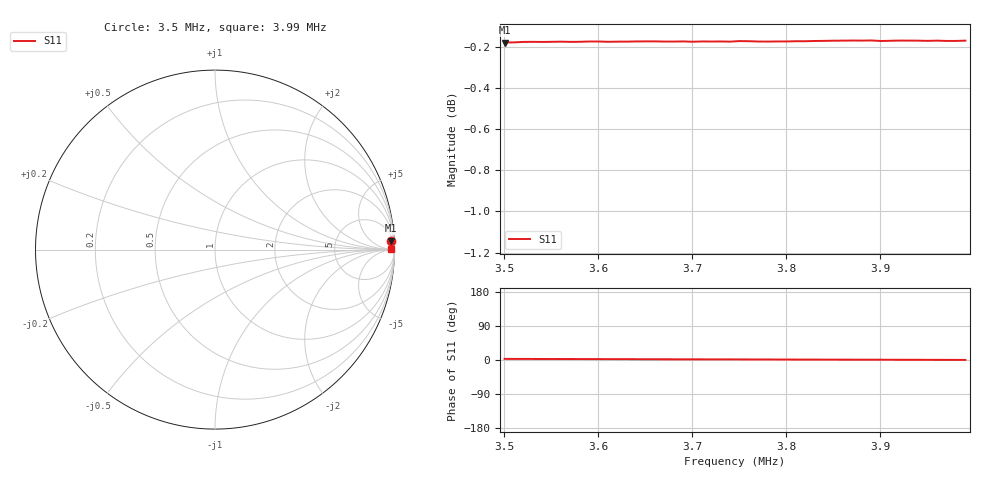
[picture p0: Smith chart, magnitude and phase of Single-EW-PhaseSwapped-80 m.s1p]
# HZ S RI R 50
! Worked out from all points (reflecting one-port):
!   50 points, 3.5 MHz to 3.99 MHz, reference 50 ohm
!   lowest |S11| = -0.2 dB at 3.5 MHz (marker M1), VSWR 97.20, Z = 673 + j1.68e+03 ohm
!   phase of S11 starts at 3 deg and turns -3 deg over the sweep
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3500200  0.9783 0.0503
3520208  0.9788 0.0483
3530212  0.9789 0.0474
3550220  0.979 0.0451
3560224  0.9791 0.0442
3570228  0.979 0.0432
3590236  0.9793 0.0413
3610244  0.9793 0.0394
3630252  0.9794 0.0376
3660264  0.9797 0.0345
3670268  0.9796 0.0336
3690276  0.9797 0.0317
3700280  0.9796 0.0308
3710284  0.9798 0.0297
3740296  0.9797 0.0271
3750300  0.9801 0.0261
3780312  0.9799 0.0234
3800320  0.98 0.0216
3810324  0.9801 0.0205
3870348  0.9806 0.0152
3890356  0.9807 0.0133
3900360  0.9804 0.0125
3920368  0.9806 0.0107
3930372  0.9806 0.00988
3950380  0.9805 0.00795
3960384  0.9806 0.00721
3970388  0.9805 0.00639
3990396  0.9807 0.00453
